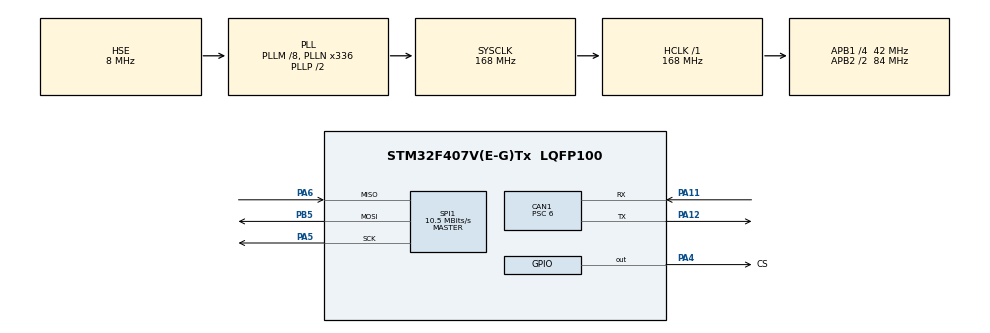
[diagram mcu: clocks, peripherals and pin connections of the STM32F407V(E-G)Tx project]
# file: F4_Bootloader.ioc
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CAN1.ABOM=ENABLE
CAN1.BS1=CAN_BS1_11TQ
CAN1.BS2=CAN_BS2_2TQ
CAN1.CalculateBaudRate=500000
CAN1.CalculateTimeBit=2000
CAN1.CalculateTimeQuantum=142.85714285714286
CAN1.Prescaler=6
Mcu.Family=STM32F4
Mcu.Name=STM32F407V(E-G)Tx
Mcu.Package=LQFP100
NVIC.PriorityGroup=NVIC_PRIORITYGROUP_4
PA11.Mode=CAN_Activate
PA11.Signal=CAN1_RX
PA12.Mode=CAN_Activate
PA12.Signal=CAN1_TX
PA13.Mode=Serial_Wire
PA13.Signal=SYS_JTMS-SWDIO
PA14.Mode=Serial_Wire
PA14.Signal=SYS_JTCK-SWCLK
PA4.GPIO_Label=CS
PA4.Signal=GPIO_Output
PA5.Mode=Full_Duplex_Master
PA5.Signal=SPI1_SCK
PA6.Mode=Full_Duplex_Master
PA6.Signal=SPI1_MISO
PB5.Mode=Full_Duplex_Master
PB5.Signal=SPI1_MOSI
PH0-OSC_IN.Mode=HSE-External-Oscillator
PH0-OSC_IN.Signal=RCC_OSC_IN
PH1-OSC_OUT.Mode=HSE-External-Oscillator
PH1-OSC_OUT.Signal=RCC_OSC_OUT
ProjectManager.HeapSize=0x200
ProjectManager.StackSize=0x400
ProjectManager.TargetToolchain=STM32CubeIDE
RCC.48MHZClocksFreq_Value=84000000
RCC.AHBFreq_Value=168000000
RCC.APB1CLKDivider=RCC_HCLK_DIV4
RCC.APB1Freq_Value=42000000
RCC.APB1TimFreq_Value=84000000
RCC.APB2CLKDivider=RCC_HCLK_DIV2
RCC.APB2Freq_Value=84000000
RCC.APB2TimFreq_Value=168000000
RCC.CortexFreq_Value=168000000
RCC.HCLKFreq_Value=168000000
RCC.HSE_VALUE=8000000
RCC.HSI_VALUE=16000000
RCC.LSE_VALUE=32768
RCC.PLLM=8
RCC.PLLN=336
RCC.PLLSourceVirtual=RCC_PLLSOURCE_HSE
RCC.SYSCLKFreq_VALUE=168000000
RCC.SYSCLKSource=RCC_SYSCLKSOURCE_PLLCLK
RCC.VCOOutputFreq_Value=336000000
SPI1.BaudRatePrescaler=SPI_BAUDRATEPRESCALER_8
SPI1.CalculateBaudRate=10.5 MBits/s
SPI1.Direction=SPI_DIRECTION_2LINES
SPI1.Mode=SPI_MODE_MASTER
SPI1.VirtualType=VM_MASTER
board=custom

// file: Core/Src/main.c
/* USER CODE BEGIN Header */
/**
  ******************************************************************************
  * @file           : main.c
  * @brief          : Main program body
  ******************************************************************************
  * @attention
  *
  * Copyright (c) 2026 STMicroelectronics.
  * All rights reserved.
  *
  * This software is licensed under terms that can be found in the LICENSE file
  * in the root directory of this software component.
  * If no LICENSE file comes with this software, it is provided AS-IS.
  *
  ******************************************************************************
  */
/* USER CODE END Header */
#include "main.h"

/* USER CODE BEGIN Includes */
#include "boot_meta.h"
#include "BOOT_ISOTP.h"
#include "CRC32.h"
#include "BOOT_UDS.h"
#include "BOOT_FLASH.h"
#include "BOOT_IMAGE.h"
/* USER CODE END Includes */

/* USER CODE BEGIN PD */
#define APP_BASE  0x08010000UL
#define APP_END   0x08080000UL
#define SRAM_END  0x20020000UL
#define UPDATE_FLAG_ADDR  0x2001FFF8UL      //预留区起点
#define UPDATE_MAGIC      0x55504454UL
/* USER CODE END PD */

CAN_HandleTypeDef hcan1;

SPI_HandleTypeDef hspi1;

void SystemClock_Config(void);
static void MX_GPIO_Init(void);
static void MX_CAN1_Init(void);
static void MX_SPI1_Init(void);

/* USER CODE BEGIN 0 */
static uint8_t App_VectorValid(void)
{
    uint32_t msp   = *(volatile uint32_t *)APP_BASE;
    uint32_t reset = *(volatile uint32_t *)(APP_BASE + 4U);
    uint32_t entry = reset & ~1UL;

    if (msp < 0x20000000UL || msp > SRAM_END || (msp & 7U) != 0U)
        return 0U;

    if ((reset & 1U) == 0U || entry < APP_BASE || entry >= APP_END)
        return 0U;

    return 1U;
}

static void JumpToApp(void)
{
    uint32_t msp = *(volatile uint32_t *)APP_BASE;
    uint32_t reset = *(volatile uint32_t *)(APP_BASE + 4U);

    HAL_CAN_Stop(&hcan1);
    HAL_SPI_DeInit(&hspi1);
    HAL_RCC_DeInit();
    HAL_DeInit();

    __disable_irq();

    SysTick->CTRL = 0U;
    SysTick->LOAD = 0U;
    SysTick->VAL = 0U;

    for (uint32_t i = 0U; i < 8U; i++)
    {
        NVIC->ICER[i] = 0xFFFFFFFFU;
        NVIC->ICPR[i] = 0xFFFFFFFFU;
    }

    SCB->VTOR = APP_BASE;
    __set_CONTROL(0U);
    __DSB();
    __ISB();
    __enable_irq();

    __asm volatile(
        "msr msp, %0 \n"
        "bx %1 \n"
        :
        : "r"(msp), "r"(reset)
        :
    );

    __builtin_unreachable();
}

static uint8_t MetaValid(const BootMeta_t *m)
{
    uint32_t crc;

    if (m->magic != META_MAGIC ||
        m->state != META_VALID ||
        m->image_size < 8U ||
        m->image_size > APP_END - APP_BASE)
        return 0U;

    crc = CRC32_Calculate(m, offsetof(BootMeta_t, meta_crc32));
    return crc == m->meta_crc32;
}

static uint8_t ImageValid(const BootMeta_t *m)
{
    uint32_t reset = *(volatile uint32_t *)(APP_BASE + 4U);
    uint32_t entry = reset & ~1UL;

    if (!App_VectorValid() ||
        entry >= APP_BASE + m->image_size)
        return 0U;

    return CRC32_Calculate((const void *)APP_BASE, m->image_size) == m->image_crc32;
}
/* USER CODE END 0 */

int main(void)
{

  /* MCU Configuration--------------------------------------------------------*/

  /* Reset of all peripherals, Initializes the Flash interface and the Systick. */
  HAL_Init();

  /* Configure the system clock */
  SystemClock_Config();

  /* Initialize all configured peripherals */
  MX_GPIO_Init();
  MX_CAN1_Init();
  MX_SPI1_Init();
  /* USER CODE BEGIN 2 */
  volatile uint32_t *flag = (volatile uint32_t *)UPDATE_FLAG_ADDR;

  volatile uint8_t update_requested = flag[0] == UPDATE_MAGIC && flag[1] == (uint32_t)~UPDATE_MAGIC;

  flag[0] = 0U;
  flag[1] = 0U;

  uint8_t app_valid = Image_AppValid();

  if (app_valid && !update_requested)
      JumpToApp();

  uint8_t flash_ok = Bf_Init();
  uint8_t recovering = 0U;

  BootUds_Init(flash_ok);
  BlIsoTp_Init(&hcan1, BootUds_OnMessage);

  /*
   * 内部App无效时，优先尝试从B区恢复。
   * B区也无效时，保持Bootloader，不跳转。
   */
  if (!app_valid && flash_ok)
      recovering = Image_StartRestore();

  /*
      * App通过RAM标记交接的10 02：
      * 由Bootloader建立会话并发送最终50 02。
  */
  if (app_valid && update_requested)
  {
      const uint8_t request[2] = {0x10U, 0x02U};
      BootUds_OnMessage(request, sizeof(request));
  }

  /* USER CODE END 2 */

  /* Infinite loop */
  while (1)
  {

    /* USER CODE BEGIN 3 */
	  while (HAL_CAN_GetRxFifoFillLevel(&hcan1, CAN_RX_FIFO0) > 0U)
	  {
	      CAN_RxHeaderTypeDef header;
	      uint8_t data[8];

	      if (HAL_CAN_GetRxMessage(&hcan1, CAN_RX_FIFO0, &header, data) == HAL_OK)
	      {
	          /*
	           * 启动恢复期间不接收新的升级事务，
	           * 但仍排空硬件FIFO。
	           */
	          if (!recovering)
	              BlIsoTp_OnFrame(&header, data);
	      }
	  }

	  BlIsoTp_Poll();

	  if (recovering)
	  {
	      int result = Image_Poll();

	      if (result > 0)
	      {
	          /* 恢复成功，正常复位后启动旧App。 */
	          NVIC_SystemReset();
	      }

	      if (result < 0)
	      {
	          recovering = 0U;
	          BootUds_Init(flash_ok);
	      }
	  }
	  else
	  {
	      BootUds_Poll(&hcan1);
	  }
  }
  /* USER CODE END 3 */
}

void SystemClock_Config(void)
{
  RCC_OscInitTypeDef RCC_OscInitStruct = {0};
  RCC_ClkInitTypeDef RCC_ClkInitStruct = {0};

  /** Configure the main internal regulator output voltage
  */
  __HAL_RCC_PWR_CLK_ENABLE();
  __HAL_PWR_VOLTAGESCALING_CONFIG(PWR_REGULATOR_VOLTAGE_SCALE1);

  /** Initializes the RCC Oscillators according to the specified parameters
  * in the RCC_OscInitTypeDef structure.
  */
  RCC_OscInitStruct.OscillatorType = RCC_OSCILLATORTYPE_HSE;
  RCC_OscInitStruct.HSEState = RCC_HSE_ON;
  RCC_OscInitStruct.PLL.PLLState = RCC_PLL_ON;
  RCC_OscInitStruct.PLL.PLLSource = RCC_PLLSOURCE_HSE;
  RCC_OscInitStruct.PLL.PLLM = 8;
  RCC_OscInitStruct.PLL.PLLN = 336;
  RCC_OscInitStruct.PLL.PLLP = RCC_PLLP_DIV2;
  RCC_OscInitStruct.PLL.PLLQ = 4;
  if (HAL_RCC_OscConfig(&RCC_OscInitStruct) != HAL_OK)
  {
    Error_Handler();
  }

  /** Initializes the CPU, AHB and APB buses clocks
  */
  RCC_ClkInitStruct.ClockType = RCC_CLOCKTYPE_HCLK|RCC_CLOCKTYPE_SYSCLK
                              |RCC_CLOCKTYPE_PCLK1|RCC_CLOCKTYPE_PCLK2;
  RCC_ClkInitStruct.SYSCLKSource = RCC_SYSCLKSOURCE_PLLCLK;
  RCC_ClkInitStruct.AHBCLKDivider = RCC_SYSCLK_DIV1;
  RCC_ClkInitStruct.APB1CLKDivider = RCC_HCLK_DIV4;
  RCC_ClkInitStruct.APB2CLKDivider = RCC_HCLK_DIV2;

  if (HAL_RCC_ClockConfig(&RCC_ClkInitStruct, FLASH_LATENCY_5) != HAL_OK)
  {
    Error_Handler();
  }
}

static void MX_CAN1_Init(void)
{

  hcan1.Instance = CAN1;
  hcan1.Init.Prescaler = 6;
  hcan1.Init.Mode = CAN_MODE_NORMAL;
  hcan1.Init.SyncJumpWidth = CAN_SJW_1TQ;
  hcan1.Init.TimeSeg1 = CAN_BS1_11TQ;
  hcan1.Init.TimeSeg2 = CAN_BS2_2TQ;
  hcan1.Init.TimeTriggeredMode = DISABLE;
  hcan1.Init.AutoBusOff = ENABLE;
  hcan1.Init.AutoWakeUp = DISABLE;
  hcan1.Init.AutoRetransmission = DISABLE;
  hcan1.Init.ReceiveFifoLocked = DISABLE;
  hcan1.Init.TransmitFifoPriority = DISABLE;
  if (HAL_CAN_Init(&hcan1) != HAL_OK)
  {
    Error_Handler();
  }
  /* USER CODE BEGIN CAN1_Init 2 */
  CAN_FilterTypeDef filter = {0};

  filter.FilterBank = 0;
  filter.FilterMode = CAN_FILTERMODE_IDMASK;
  filter.FilterScale = CAN_FILTERSCALE_32BIT;
  filter.FilterIdHigh = 0x7E0U << 5;
  filter.FilterMaskIdHigh = 0x7FFU << 5;
  filter.FilterFIFOAssignment = CAN_RX_FIFO0;
  filter.FilterActivation = ENABLE;
  filter.SlaveStartFilterBank = 14;

  if (HAL_CAN_ConfigFilter(&hcan1, &filter) != HAL_OK || HAL_CAN_Start(&hcan1) != HAL_OK)
  {
      Error_Handler();
  }
  /* USER CODE END CAN1_Init 2 */

}

static void MX_SPI1_Init(void)
{

  /* SPI1 parameter configuration*/
  hspi1.Instance = SPI1;
  hspi1.Init.Mode = SPI_MODE_MASTER;
  hspi1.Init.Direction = SPI_DIRECTION_2LINES;
  hspi1.Init.DataSize = SPI_DATASIZE_8BIT;
  hspi1.Init.CLKPolarity = SPI_POLARITY_LOW;
  hspi1.Init.CLKPhase = SPI_PHASE_1EDGE;
  hspi1.Init.NSS = SPI_NSS_SOFT;
  hspi1.Init.BaudRatePrescaler = SPI_BAUDRATEPRESCALER_8;
  hspi1.Init.FirstBit = SPI_FIRSTBIT_MSB;
  hspi1.Init.TIMode = SPI_TIMODE_DISABLE;
  hspi1.Init.CRCCalculation = SPI_CRCCALCULATION_DISABLE;
  hspi1.Init.CRCPolynomial = 10;
  if (HAL_SPI_Init(&hspi1) != HAL_OK)
  {
    Error_Handler();
  }

}

static void MX_GPIO_Init(void)
{
  GPIO_InitTypeDef GPIO_InitStruct = {0};

  /* GPIO Ports Clock Enable */
  __HAL_RCC_GPIOH_CLK_ENABLE();
  __HAL_RCC_GPIOA_CLK_ENABLE();
  __HAL_RCC_GPIOB_CLK_ENABLE();

  /*Configure GPIO pin Output Level */
  HAL_GPIO_WritePin(CS_GPIO_Port, CS_Pin, GPIO_PIN_RESET);

  /*Configure GPIO pin : CS_Pin */
  GPIO_InitStruct.Pin = CS_Pin;
  GPIO_InitStruct.Mode = GPIO_MODE_OUTPUT_PP;
  GPIO_InitStruct.Pull = GPIO_NOPULL;
  GPIO_InitStruct.Speed = GPIO_SPEED_FREQ_LOW;
  HAL_GPIO_Init(CS_GPIO_Port, &GPIO_InitStruct);

}

void Error_Handler(void)
{
  __disable_irq();
  while (1)
  {
  }
}
